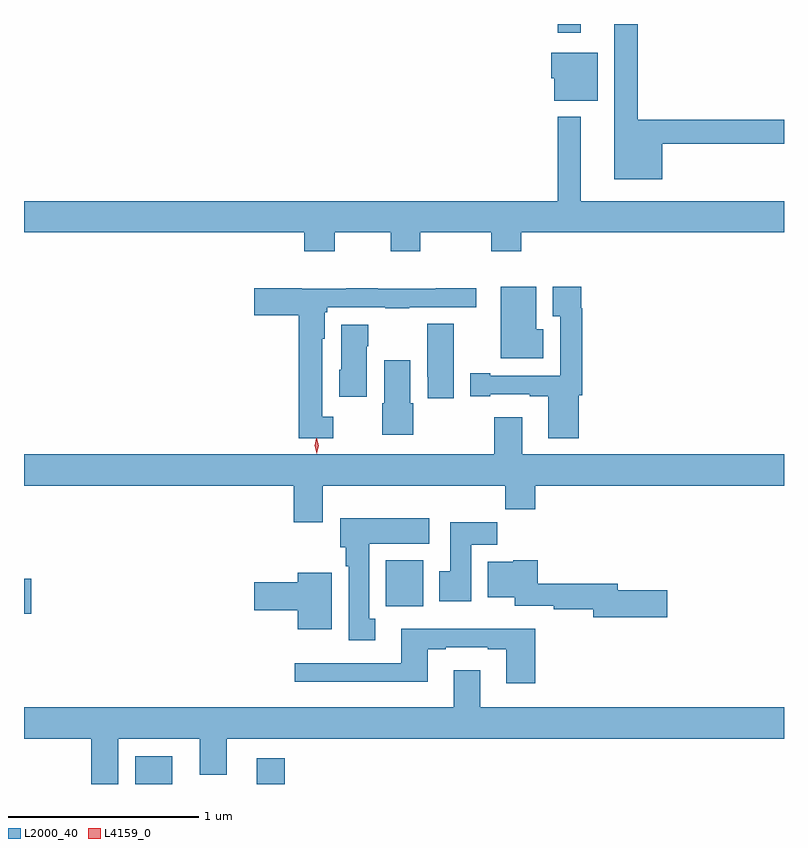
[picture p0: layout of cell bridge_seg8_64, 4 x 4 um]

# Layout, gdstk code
import gdstk
lib = gdstk.Library(unit=1e-6, precision=1e-09)
def R(c, l, rs):  # rectangles x0, y0, x1, y1
    for r in rs: c.add(gdstk.rectangle(r[:2], r[2:], *l))
def P(c, l, *ps):  # polygons
    for p in ps: c.add(gdstk.Polygon(p, *l))
L2000_40 = (2000, 40)
L4159_0 = (4159, 0)

bridge_seg8_64 = lib.new_cell('bridge_seg8_64')
R(bridge_seg8_64, L2000_40, [(1089.117,1110.933,1089.313,1111.078), (1089.758,1110.933,1089.905,1111.069), (1088.532,1111.829,1088.569,1112.012), (1090.436,1111.868,1090.633,1112.11), (1091.34,1114.887,1091.461,1114.933)])
P(bridge_seg8_64, L2000_40, [(1091.89,1114.302),(1092.532,1114.302),(1092.532,1114.43),(1091.761,1114.43),(1091.761,1114.933),(1091.639,1114.933),(1091.639,1114.115),(1091.89,1114.115)],
  [(1091.551,1114.783),(1091.306,1114.783),(1091.306,1114.647),(1091.324,1114.647),(1091.324,1114.529),(1091.551,1114.529)],
  [(1090.167,1113.836),(1090.462,1113.836),(1090.462,1113.737),(1090.617,1113.737),(1090.617,1113.836),(1090.99,1113.836),(1090.99,1113.737),(1091.15,1113.737),(1091.15,1113.836),(1092.532,1113.836),(1092.532,1114),(1091.461,1114),(1091.461,1114.444),(1091.34,1114.444),(1091.34,1114),(1088.532,1114),(1088.532,1113.836),(1090.007,1113.836),(1090.007,1113.737),(1090.167,1113.737)],
  [(1091.452,1112.978),(1091.471,1112.978),(1091.471,1113.437),(1091.464,1113.437),(1091.464,1113.55),(1091.315,1113.55),(1091.315,1113.394),(1091.355,1113.394),(1091.355,1113.081),(1090.987,1113.081),(1090.987,1113.094),(1090.88,1113.094),(1090.88,1112.973),(1090.987,1112.973),(1090.987,1112.985),(1091.195,1112.985),(1091.195,1112.973),(1091.291,1112.973),(1091.291,1112.754),(1091.452,1112.754)],
  [(1091.266,1113.326),(1091.227,1113.326),(1091.227,1113.55),(1091.042,1113.55),(1091.042,1113.173),(1091.266,1113.173)],
  [(1090.159,1112.866),(1090.102,1112.866),(1090.102,1113.276),(1090.114,1113.276),(1090.114,1113.417),(1090.128,1113.417),(1090.128,1113.441),(1090.432,1113.441),(1090.432,1113.436),(1090.559,1113.436),(1090.559,1113.441),(1090.912,1113.441),(1090.912,1113.542),(1090.699,1113.542),(1090.699,1113.539),(1090.393,1113.539),(1090.393,1113.542),(1090.228,1113.542),(1090.228,1113.539),(1089.993,1113.539),(1089.993,1113.543),(1089.744,1113.543),(1089.744,1113.401),(1089.977,1113.401),(1089.977,1112.753),(1090.159,1112.753)],
  [(1090.795,1113.356),(1090.655,1113.356),(1090.655,1113.076),(1090.657,1113.076),(1090.657,1112.964),(1090.795,1112.964)],
  [(1090.336,1113.236),(1090.344,1113.236),(1090.344,1113.349),(1090.202,1113.349),(1090.202,1113.114),(1090.19,1113.114),(1090.19,1112.97),(1090.336,1112.97)],
  [(1090.581,1112.937),(1090.564,1112.937),(1090.564,1113.163),(1090.427,1113.163),(1090.427,1112.937),(1090.418,1112.937),(1090.418,1112.771),(1090.581,1112.771)],
  [(1090.105,1112.504),(1091.065,1112.504),(1091.065,1112.38),(1091.222,1112.38),(1091.222,1112.504),(1092.532,1112.504),(1092.532,1112.668),(1091.155,1112.668),(1091.155,1112.863),(1091.008,1112.863),(1091.008,1112.668),(1088.532,1112.668),(1088.532,1112.504),(1089.953,1112.504),(1089.953,1112.31),(1090.105,1112.31)],
  [(1090.381,1111.802),(1090.348,1111.802),(1090.348,1112.198),(1090.666,1112.198),(1090.666,1112.332),(1090.196,1112.332),(1090.196,1112.178),(1090.226,1112.178),(1090.226,1112.078),(1090.241,1112.078),(1090.241,1111.689),(1090.381,1111.689)],
  [(1090.885,1112.192),(1091.024,1112.192),(1091.024,1112.311),(1090.775,1112.311),(1090.775,1112.052),(1090.718,1112.052),(1090.718,1111.896),(1090.885,1111.896)],
  [(1091.917,1111.952),(1091.656,1111.952),(1091.656,1111.988),(1091.237,1111.988),(1091.237,1112.11),(1091.106,1112.11),(1091.106,1112.104),(1090.973,1112.104),(1090.973,1111.916),(1091.114,1111.916),(1091.114,1111.872),(1091.32,1111.872),(1091.32,1111.852),(1091.528,1111.852),(1091.528,1111.81),(1091.917,1111.81)],
  [(1090.153,1112.044),(1089.974,1112.044),(1089.974,1111.994),(1089.744,1111.994),(1089.744,1111.847),(1089.974,1111.847),(1089.974,1111.748),(1090.153,1111.748)],
  [(1091.222,1111.75),(1090.517,1111.75),(1090.517,1111.569),(1089.957,1111.569),(1089.957,1111.472),(1090.657,1111.472),(1090.657,1111.641),(1090.753,1111.641),(1090.753,1111.653),(1090.973,1111.653),(1090.973,1111.641),(1091.069,1111.641),(1091.069,1111.464),(1091.222,1111.464)],
  [(1089.028,1111.172),(1089.458,1111.172),(1089.458,1110.982),(1089.598,1110.982),(1089.598,1111.172),(1092.532,1111.172),(1092.532,1111.336),(1090.933,1111.336),(1090.933,1111.531),(1090.793,1111.531),(1090.793,1111.336),(1088.532,1111.336),(1088.532,1111.172),(1088.885,1111.172),(1088.885,1110.933),(1089.028,1110.933)])
P(bridge_seg8_64, L4159_0, [(1090.072,1112.671),(1090.072,1112.672),(1090.062,1112.712),(1090.071,1112.752),(1090.072,1112.752),(1090.072,1112.752),(1090.082,1112.712),(1090.072,1112.672)])

lib.write_gds('bridge_seg8_64.gds')
